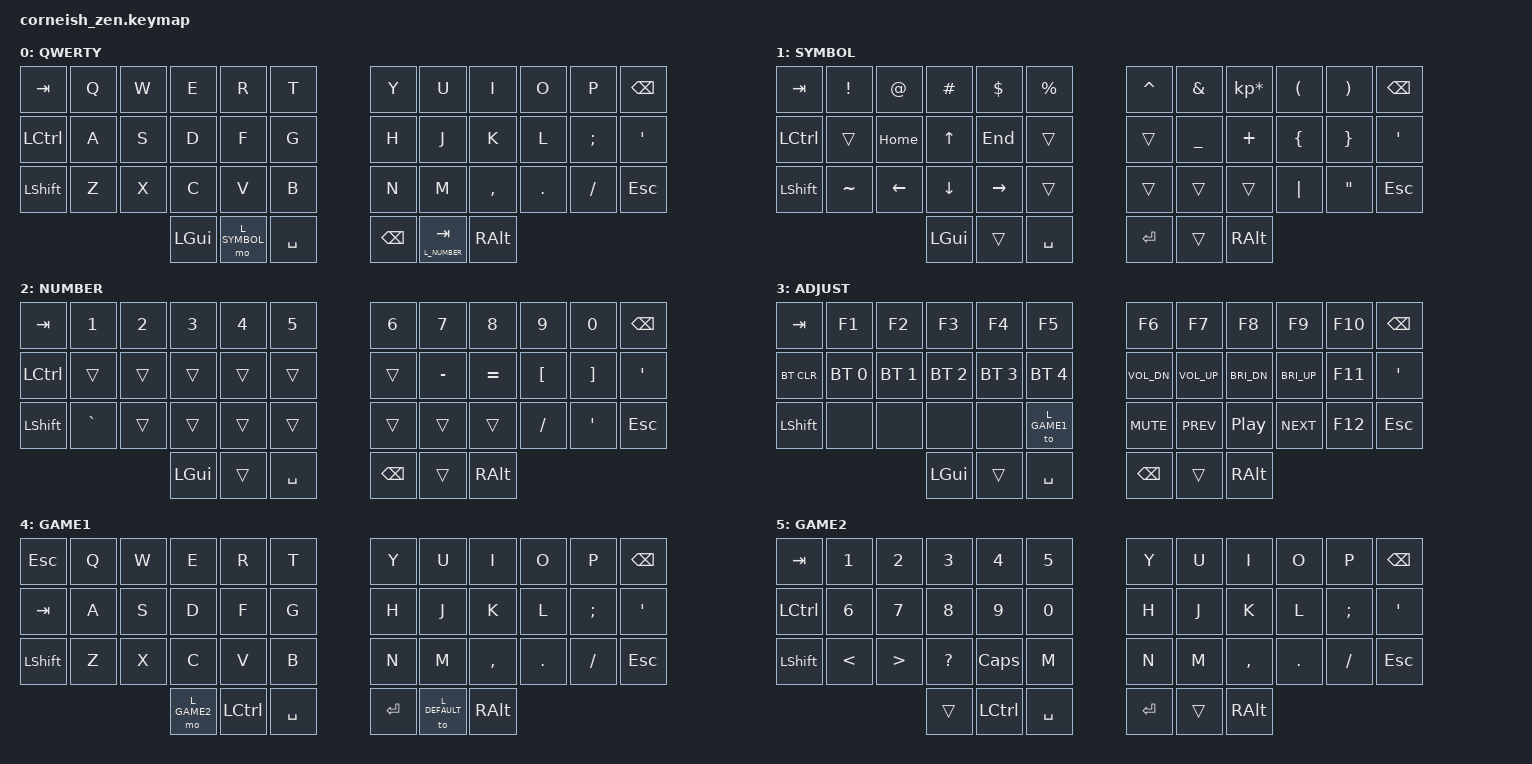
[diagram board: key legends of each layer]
/*
*
* Copyright (c) 2021 Darryl deHaan
* SPDX-License-Identifier: MIT
*
*/

#include <behaviors.dtsi>
#include <dt-bindings/zmk/keys.h>
#include <dt-bindings/zmk/bt.h>

#define L_DEFAULT 0 // QWERTY is the default layout
#define L_SYMBOL  1
#define L_NUMBER  2
#define L_ADJUST  3
#define L_GAME1   4
#define L_GAME2   5

/ {
  chosen {
    zmk,matrix_transform = &default_transform;
    //zmk,matrix_transform = &five_column_transform;
  };
};

/ {
        conditional_layers {
         compatible = "zmk,conditional-layers";                        
         tri_layer {
           if-layers = <L_NUMBER L_SYMBOL>;
           then-layer = <L_ADJUST>;                        
         };
        };
        
        keymap {
                compatible = "zmk,keymap";

                default_layer {
                        label = "QWERTY";
// -----------------------------------------------------------------------------------------
// |  TAB |  Q  |  W  |  E  |  R  |  T  |   |  Y   |  U  |  I  |  O  |  P  | BKSP |
// | CTRL |  A  |  S  |  D  |  F  |  G  |   |  H   |  J  |  K  |  L  |  ;  |  '   |
// | SHFT |  Z  |  X  |  C  |  V  |  B  |   |  N   |  M  |  ,  |  .  |  /  | ESC  |
//                    | GUI | SYM | SPC |   | BKSP | NUM/TAB  | ALT |
                        bindings = <
   &kp TAB   &kp Q &kp W &kp E &kp R &kp T   &kp Y &kp U  &kp I     &kp O   &kp P    &kp BSPC
   &kp LCTRL &kp A &kp S &kp D &kp F &kp G   &kp H &kp J  &kp K     &kp L   &kp SEMI &kp SQT
   &kp LSHFT &kp Z &kp X &kp C &kp V &kp B   &kp N &kp M  &kp COMMA &kp DOT &kp FSLH &kp ESC
           &kp LGUI &mo L_SYMBOL &kp SPACE   &kp BSPC &lt L_NUMBER TAB &kp RALT
                        >;
                };

                symbol_layer {
                        label = "SYMBOL";
// -----------------------------------------------------------------------------------------
// |  TAB |  !  |  @   |  #  |  $  |  %  |   |  ^  |  &  |  *  |  (  |  )  | BKSP |
// | CTRL |     | HOME |  UP | END |     |   |     |  _  |  +  |  {  |  }  |  '   |
// | SHFT |  ~  |  LFT | DWN | RGT |     |   |     |     |     | "|" |  "  | ESC  |
//                     | GUI |     | SPC |   | ENT |     | ALT |
                        bindings = <
   &kp  TAB  &kp EXCL  &kp AT   &kp HASH &kp DLLR  &kp PRCNT   &kp CARET &kp AMPS  &kp KP_MULTIPLY &kp LPAR &kp RPAR &kp BSPC
   &kp LCTRL &trans    &kp HOME &kp UP   &kp END   &trans      &trans    &kp UNDER &kp PLUS        &kp LBRC &kp RBRC &kp SQT
   &kp LSHFT &kp TILDE &kp LEFT &kp DOWN &kp RIGHT &trans      &trans    &trans    &trans          &kp PIPE &kp DQT  &kp ESC
                    	      &kp LGUI &trans  &kp SPACE       &kp RET   &trans    &kp RALT
                        >;
                };

                number_layer {
                        label = "NUMBER";
// -----------------------------------------------------------------------------------------
// |  TAB |  1  |  2  |  3  |  4  |  5  |   |  6   |  7  |  8  |  9  |  0  | BKSP |
// | CTRL |     |     |     |     |     |   |      |  -  |  =  |  [  |  ]  |  '   |
// | SHFT |  `  |     |     |     |     |   |      |     |     |  /  |  '  | ESC  |
//                    | GUI |     | SPC |   | BKSP |     | ALT |
                        bindings = <
   &kp TAB   &kp N1    &kp N2 &kp N3 &kp N4 &kp N5    &kp N6 &kp N7    &kp N8    &kp N9    &kp N0   &kp BSPC
   &kp LCTRL &trans    &trans &trans &trans &trans    &trans &kp MINUS &kp EQUAL &kp LBKT  &kp RBKT &kp SQT
   &kp LSHFT &kp GRAVE &trans &trans &trans &trans    &trans &trans    &trans    &kp FSLH  &kp SQT  &kp ESC
                         &kp LGUI &trans &kp SPACE    &kp BSPC &trans &kp RALT
                        >;
                };

                adjust_layer {
                        label = "ADJUST";
// -----------------------------------------------------------------------------------------
// | TAB   | F1  |  F2  | F3  | F4   | F5   |   | F6   | F7  | F8   | F9  | F10 | BKSP |
// | BTCLR | BT1 |  BT2 | BT3 | BT4  | BT5  |   | VL-  | VL+ | BR-  | BR+ | F11 |  '   |
// | SHFT  | XXX |  XXX | XXX | XXX  | GAME |   | MUT  | PRV | PLAY | NXT | F12 | ESC  |
//                      | GUI |      | SPC  |   | BKSP |     | ALT |
                        bindings = <
   &kp TAB    &kp F1       &kp F2       &kp F3       &kp F4       &kp F5         &kp F6         &kp F7       &kp F8       &kp F9       &kp F10 &kp BSPC
   &bt BT_CLR &bt BT_SEL 0 &bt BT_SEL 1 &bt BT_SEL 2 &bt BT_SEL 3 &bt BT_SEL 4   &kp C_VOL_DN   &kp C_VOL_UP &kp C_BRI_DN &kp C_BRI_UP &kp F11 &kp SQT
   &kp LSHFT  &none        &none        &none        &none        &to L_GAME1    &kp C_MUTE     &kp C_PREV   &kp C_PP     &kp C_NEXT   &kp F12 &kp ESC
                                                  &kp LGUI &trans &kp SPACE      &kp BSPC &trans &kp RALT
                        >;
                };

                game1_layer {
                        label = "GAME1";
// -----------------------------------------------------------------------------------------
// | ESC  |  Q  |  W  |  E  |  R   |  T  |   |  Y  |   U    |  I  |  O  |  P  | BKSP |
// | TAB  |  A  |  S  |  D  |  F   |  G  |   |  H  |   J    |  K  |  L  |  ;  |  '   |
// | SHFT |  Z  |  X  |  C  |  V   |  B  |   |  N  |   M    |  ,  |  .  |  /  | ESC  |
//                    | GM2 | CTRL | SPC |   | ENT | QWERTY | ALT |
                        bindings = <
   &kp ESC   &kp Q &kp W &kp E &kp R &kp T           &kp Y &kp U &kp I     &kp O   &kp P    &kp BSPC
   &kp TAB   &kp A &kp S &kp D &kp F &kp G           &kp H &kp J &kp K     &kp L   &kp SEMI &kp SQT
   &kp LSHFT &kp Z &kp X &kp C &kp V &kp B           &kp N &kp M &kp COMMA &kp DOT &kp FSLH &kp ESC
               &mo L_GAME2 &kp LCTRL &kp SPACE       &kp RET &to L_DEFAULT &kp RALT
                        >;
                };

                game2_layer {
                        label = "GAME2";
// -----------------------------------------------------------------------------------------
// | TAB  |  1  |  2  |  3  |  4   |  5  |   |  Y  |  U  |  I  |  O  |  P  | BKSP |
// | CTRL |  6  |  7  |  8  |  9   |  0  |   |  H  |  J  |  K  |  L  |  ;  |  '   |
// | SHFT |  <  |  >  |  ?  | CLCK |  M  |   |  N  |  M  |  ,  |  .  |  /  | ESC  |
//                    |     | CTRL | SPC |   | ENT |     | ALT |
                        bindings = <
   &kp TAB   &kp N1 &kp N2 &kp N3    &kp N4    &kp N5           &kp Y &kp U  &kp I     &kp O   &kp P    &kp BSPC
   &kp LCTRL &kp N6 &kp N7 &kp N8    &kp N9    &kp N0           &kp H &kp J  &kp K     &kp L   &kp SEMI &kp SQT
   &kp LSHFT &kp LT &kp GT &kp QMARK &kp CLCK  &kp M            &kp N &kp M  &kp COMMA &kp DOT &kp FSLH &kp ESC
                           &trans    &kp LCTRL &kp SPACE        &kp RET &trans &kp RALT
                        >;
                };
        };
};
